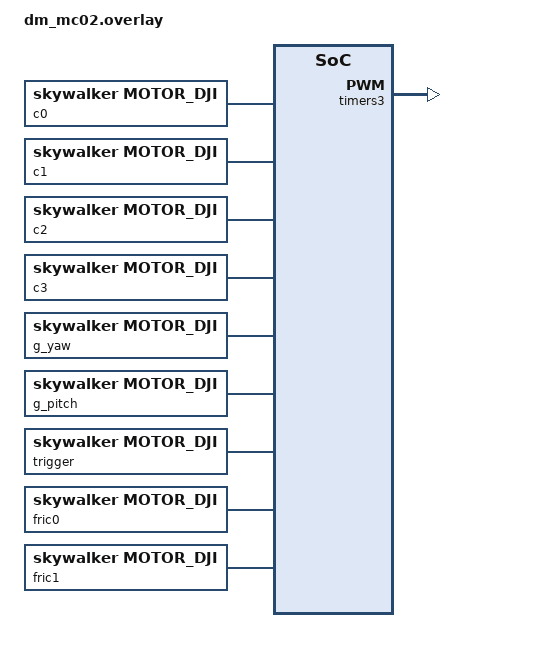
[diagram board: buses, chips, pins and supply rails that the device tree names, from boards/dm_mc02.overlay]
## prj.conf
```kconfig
# ── skywalker 最终固件 ──
#
# ⚠️ 这里的开关是「这辆车用到了哪些【子系统】」，不是「用了哪个【型号】」。
#    所以电机两个驱动都开：没有对应 DT 节点的那个不会实例化任何设备。
#    型号完全由 application/boards/dm_mc02.overlay 决定 ——
#    和上层代码里不出现型号名是同一条规则。
#
# ⚠️ 但「不开设备」不等于「零代价」：本 overlay 全是 motor_dji，所以
#    motor_dm 那边 DT_INST_FOREACH_STATUS_OKAY 展开为空，会留下
#    -Wunused-function / -Wunused-const-variable 告警（api / init / 三个命令帧）。
#    这是【预期】的，不是坏了 —— 见 dt-macros-need-a-node-to-expand 那条笔记。
#    哪天换成达妙电机，告警会整体挪到 motor_dji 那边去。
#
# ⚠️ 干净构建时还会看到两条 CMake Warning「No SOURCES given to Zephyr library」：
#      ..__skywalker_code__lib__matrix —— matrix.c 只在 _MATRIX_STORAGE 下编译
#         （那是矩阵存 flash 的功能，本车不用）。CONFIG_SKYWALKER_LIB_MATRIX 的
#         真正作用是 select CMSIS_DSP / CMSIS_DSP_MATRIX —— EKF 要的
#         arm_matrix_instance_f32 和 Matrix_Init 都在 CMSIS-DSP 里，所以这个开关
#         【必须留】。库目标为空是设计如此。
#      drivers__counter —— Zephyr 自己的，被某个依赖勾上但本板没有 counter 驱动。
#    两条都无害，不用管。

# ── skywalker 自己的驱动 / 库 ──
CONFIG_SKYWALKER_DRIVER_MOTOR=y
CONFIG_SKYWALKER_DRIVER_MOTOR_DJI=y
CONFIG_SKYWALKER_DRIVER_MOTOR_DM=y
CONFIG_SKYWALKER_DRIVER_PID=y
CONFIG_SKYWALKER_DRIVER_IMU=y
CONFIG_SKYWALKER_DRIVER_KALMAN_FILTER=y
CONFIG_SKYWALKER_DRIVER_CHASSIS=y
CONFIG_SKYWALKER_DRIVER_GIMBAL=y
CONFIG_SKYWALKER_LIB_DR16=y
CONFIG_SKYWALKER_LIB_MATRIX=y
CONFIG_SKYWALKER_LIB_VOFA=y

# ── 外设 ──
CONFIG_CAN=y
CONFIG_UART_ASYNC_API=y
CONFIG_EVENTS=y

# ── IMU（Bosch BMI08x，挂在 spi2 上，节点在板级 dts 里）──
# OWN_THREAD：传感器的 INT 引脚回调不能直接做解算，交给自己那条线程。
CONFIG_BMI08X_ACCEL_TRIGGER_OWN_THREAD=y
CONFIG_BMI08X_GYRO_TRIGGER_OWN_THREAD=y

# ── 浮点 ──
# FPU_SHARING 必须开：中断里也可能碰到浮点（CAN 反馈换算），不开的话
# FPU 寄存器不会被保存/恢复，任务切换后浮点结果随机错。
CONFIG_FPU=y
CONFIG_FPU_SHARING=y

# DR16 的 DMA 接收缓冲要求落在 nocache 段，见 lib/dr16/dr16.c
CONFIG_NOCACHE_MEMORY=y
```

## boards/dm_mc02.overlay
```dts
/*
 * application —— 【最终固件】的设备树。
 *
 * 这个文件是整辆车"是什么样"的唯一定义处：
 *   装了几个电机、挂在哪个 CAN 口、几号 ID、底盘几何、云台行程、PID 增益。
 * 上层代码（src/main.c）里【一个型号名都不出现】—— 它只认 motor_set / motor_get
 * 和 chassis/gimbal 两个设备。所以换电机型号 = 改这里的 compatible / type，
 * 一行 C 都不用动。
 *
 * ⚠️⚠️ 下面所有数值【都是占位的】⚠️⚠️
 *   电机 ID、底盘几何、云台行程、PID 增益全部是编的，没有任何装车意义。
 *   上真车前必须逐项替换成实车量出来的值。唯一例外是结构（哪个属性填什么
 *   形状），那部分是对的，可以照抄。
 *
 * 板级 dts（boards/damiao/dm_mc02/dm_mc02.dts）里已经有的，这里【不用重复写】：
 *   can1 / can2 / can3、uart5（DR16 用）、spi2 上的 bmi08x_accel/bmi08x_gyro。
 *   本文件只加 skywalker 自己的节点和 pwm_heat 的定时器。
 */

/ {
	/* ═══ IMU ═══
	 * 五个 phandle 各管一件事：accel/gyro 是数据源，heat 是加热片，
	 * filter 是卡尔曼，pid 是温控。缺一个 imu_init 会失败。 */
	imu: imu {
		compatible = "skywalker,imu";
		accel-dev  = <&bmi08x_accel>;
		gyro-dev   = <&bmi08x_gyro>;
		heat-dev   = <&pwm_heat>;
		filter-dev = <&ekf_filter>;
		pid-dev    = <&temp_pid>;
		estimator  = "ekf";
	};

	ekf_filter: ekf_filter {
		compatible = "skywalker,kalman_filter";
		state-dim   = <4>;
		measure-dim = <3>;
	};

	/* ═══ PID ═══
	 * ⚠️ 全部是占位增益，一个都没整定过。台架上一项一项调。
	 * out-max 的量纲取决于下发帧怎么填，见 samples/motor_dji_test 里的挂账。 */
	temp_pid:  temp_pid  { compatible = "skywalker,pid"; k-p="1"; k-i="0"; k-d="0"; i-max="0"; out-max="1"; deadband="0"; };
	wheel_pid: wheel_pid { compatible = "skywalker,pid"; k-p="8"; k-i="0"; k-d="0"; i-max="2"; out-max="2"; deadband="0"; };
	steer_pid: steer_pid { compatible = "skywalker,pid"; k-p="8"; k-i="0"; k-d="0"; i-max="2"; out-max="2"; deadband="0"; };
	tspd_pid:  tspd_pid  { compatible = "skywalker,pid"; k-p="8"; k-i="0"; k-d="0"; i-max="2"; out-max="2"; deadband="0"; };
	tang_pid:  tang_pid  { compatible = "skywalker,pid"; k-p="8"; k-i="0"; k-d="0"; i-max="2"; out-max="2"; deadband="0"; };
	yaw_a_pid: yaw_a_pid { compatible = "skywalker,pid"; k-p="8"; k-i="0"; k-d="0"; i-max="2"; out-max="2"; deadband="0"; };
	yaw_s_pid: yaw_s_pid { compatible = "skywalker,pid"; k-p="8"; k-i="0"; k-d="0"; i-max="2"; out-max="2"; deadband="0"; };
	pt_a_pid:  pt_a_pid  { compatible = "skywalker,pid"; k-p="8"; k-i="0"; k-d="0"; i-max="2"; out-max="2"; deadband="0"; };
	pt_s_pid:  pt_s_pid  { compatible = "skywalker,pid"; k-p="8"; k-i="0"; k-d="0"; i-max="2"; out-max="2"; deadband="0"; };
	fric_pid:  fric_pid  { compatible = "skywalker,pid"; k-p="8"; k-i="0"; k-d="0"; i-max="2"; out-max="2"; deadband="0"; };

	/* ═══ 底盘轮速电机（can1，ID 1~4 共用一个发送帧 0x200）═══
	 * ⚠️ 换成达妙电机只要改 `compatible` 和 `type`，属性名一样。
	 *    motor_dji 和 motor_dm 共用同一个 binding 基类（can-dev/id/tx-id/rx-id）。 */
	c0: c0 { compatible = "skywalker,motor_dji"; can-dev = <&can1>; id = <1>; tx-id = <0x200>; rx-id = <0x201>; type = "M3508"; gear-ratio = "19.2032"; status = "okay"; };
	c1: c1 { compatible = "skywalker,motor_dji"; can-dev = <&can1>; id = <2>; tx-id = <0x200>; rx-id = <0x202>; type = "M3508"; gear-ratio = "19.2032"; status = "okay"; };
	c2: c2 { compatible = "skywalker,motor_dji"; can-dev = <&can1>; id = <3>; tx-id = <0x200>; rx-id = <0x203>; type = "M3508"; gear-ratio = "19.2032"; status = "okay"; };
	c3: c3 { compatible = "skywalker,motor_dji"; can-dev = <&can1>; id = <4>; tx-id = <0x200>; rx-id = <0x204>; type = "M3508"; gear-ratio = "19.2032"; status = "okay"; };

	/* ═══ 云台 + 发射（can2）═══
	 * ⚠️ 云台 yaw/pitch 真车多半是 GM6020（tx-id 0x1ff 那一组），这里图省事
	 *    全写成 M3508。换的时候记得 id 和 tx-id 一起改 —— DJI 的对应关系是
	 *    id 1~4 ↔ 0x200、id 5~8 ↔ 0x1ff，填错电机不会转，而且不报错。 */
	g_yaw:   g_yaw   { compatible = "skywalker,motor_dji"; can-dev = <&can2>; id = <1>; tx-id = <0x200>; rx-id = <0x201>; type = "M3508"; gear-ratio = "19.2032"; status = "okay"; };
	g_pitch: g_pitch { compatible = "skywalker,motor_dji"; can-dev = <&can2>; id = <2>; tx-id = <0x200>; rx-id = <0x202>; type = "M3508"; gear-ratio = "19.2032"; status = "okay"; };
	trigger: trigger { compatible = "skywalker,motor_dji"; can-dev = <&can2>; id = <3>; tx-id = <0x200>; rx-id = <0x203>; type = "M3508"; gear-ratio = "19.2032"; status = "okay"; };

	/* 摩擦轮：计划是【两个】，所以两个节点。
	 * GIMBAL_FRICTION_MAX 是上限 4，实际几个由这里的个数决定 ——
	 * friction_num 是从属性长度算出来的，不用手写。 */
	fric0: fric0 { compatible = "skywalker,motor_dji"; can-dev = <&can2>; id = <4>; tx-id = <0x200>; rx-id = <0x204>; type = "M3508"; gear-ratio = "19.2032"; status = "okay"; };
	fric1: fric1 { compatible = "skywalker,motor_dji"; can-dev = <&can2>; id = <5>; tx-id = <0x1ff>; rx-id = <0x205>; type = "M3508"; gear-ratio = "19.2032"; status = "okay"; };

	/* ═══ 底盘 ═══
	 * 下标约定【0 = 左前，逆时针】，四个数组必须按同一下标对齐，否则
	 * CHASSIS_DT_ASSERTS 会在编译期拦下。
	 *
	 * ⚠️ wheel-x / wheel-y 是【轮子在车体系里的位置】，不是轮距轮轴：
	 *      下标 0 左前 → x = +半轴距, y = +半轮距
	 *      下标 1 右前 → x = +半轴距, y = -半轮距
	 *      下标 2 右后 → x = -半轴距, y = -半轮距
	 *      下标 3 左后 → x = -半轴距, y = +半轮距
	 *    量错一点，小陀螺就会让车走圈而不是原地转。
	 *    （#define 里的 CHASSIS_X_ALPHA_DEG 假定的是 X 型布局，见 chassis.c。） */
	skywalker_chassis: chassis {
		compatible = "skywalker,chassis";
		type = "mecanum";
		wheels       = <&c0 &c1 &c2 &c3>;
		wheel-x      = "0.2", "0.2", "-0.2", "-0.2";
		wheel-y      = "0.2", "-0.2", "-0.2", "0.2";
		wheel-radius = "0.06";
		wheel-pid    = <&wheel_pid>;
		imu          = <&imu>;

		trigger-motor       = <&trigger>;
		trigger-speed-pid   = <&tspd_pid>;
		trigger-angle-pid   = <&tang_pid>;
		trigger-angle-deg   = "45";     /* 360 / 拨盘槽数 */
		trigger-speed-deg-s = "360";
	};

	/* ═══ 云台 ═══ */
	skywalker_gimbal: gimbal {
		compatible = "skywalker,gimbal";
		yaw-motor        = <&g_yaw>;
		pitch-motor      = <&g_pitch>;
		imu              = <&imu>;
		yaw-pid          = <&yaw_a_pid>;
		yaw-speed-pid    = <&yaw_s_pid>;
		pitch-pid        = <&pt_a_pid>;
		pitch-speed-pid  = <&pt_s_pid>;
		/* ⚠️ 必须 min < max，否则 gimbal_init 返回 -EINVAL。
		 *    这是机械行程，撞限位前必须夹住，量准。 */
		pitch-min-deg    = "-20";
		pitch-max-deg    = "30";

		friction-motors      = <&fric0 &fric1>;
		friction-pid         = <&fric_pid>;
		friction-speed-deg-s = "6000";
	};
};

/* IMU 加热片用的 PWM。prescaler=99 → 100 分频，接在 tim3 的 ch4 上。 */
&timers3 {
	status = "okay";
	st,prescaler = <99>;

	pwm_heat: pwm {
		status = "okay";
		pinctrl-names = "default";
		pinctrl-0 = <&tim3_ch4_pb1>;
	};
};
```

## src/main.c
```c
/*
 * skywalker 最终固件 —— 骨架
 *
 * 分工：
 *   驱动（motors / chassis / gimbal / imu / pid）负责"这一拍怎么算"。
 *   这里负责"这一拍该要什么"：读遥控器 → 状态机 → 把意图翻译成驱动认的目标量。
 *
 * ★ 本文件里【不出现任何电机型号】。M3508 / GM6020 / DM 一律不提 ——
 *   型号是设备树（boards/dm_mc02.overlay）的事。这里只认 motor_set / motor_get
 *   和 chassis / gimbal 两个设备。换电机不用改这里一个字。
 *
 * 线程结构照 samples/motor_dji_test：
 *   控制线程 —— 算，只 motor_set（写目标）
 *   发送线程 —— 打包 + can_send（真正上总线）
 * 两条线程用两个 1ms k_timer 驱动。分开的理由：can_send 是阻塞调用，
 * 超时/重传会拖时间，混在控制回路里会让 PID 的 dt 抖。
 */

#include <zephyr/kernel.h>
#include <zephyr/device.h>
#include <zephyr/drivers/can.h>
#include <zephyr/drivers/sensor.h>
#include <zephyr/logging/log.h>

#include <math.h>
#include <string.h>
#include <stdbool.h>

#include "drivers/chassis/chassis.h"
#include "drivers/gimbal/gimbal.h"
#include "drivers/imu/imu.h"
#include "drivers/motors/motor.h"
#include "lib/dr16/dr16.h"

LOG_MODULE_REGISTER(app, LOG_LEVEL_INF);

/* ═══════════════════ 设备 ═══════════════════ */

static const struct device *const chassis_dev = DEVICE_DT_GET(DT_NODELABEL(skywalker_chassis));
static const struct device *const gimbal_dev  = DEVICE_DT_GET(DT_NODELABEL(skywalker_gimbal));
static const struct device *const dr16_uart   = DEVICE_DT_GET(DT_NODELABEL(uart5));
static const struct device *const imu_dev     = DEVICE_DT_GET(DT_NODELABEL(imu));

/* ═══════════════════ 要整定的数 ═══════════════════
 * 全部集中在这里。这些是【手感参数】，不是"装车事实" ——
 * 所以留在 C 里，不进 DT：DT 是"这辆车装了什么"，这些是"打法"。
 * ⚠️ 一个都没整定过，全是起点值。 */
#define CTRL_PERIOD_MS       1
#define APP_MAX_LINEAR       3.0f     /* 平地最大平移速度（m/s） */
#define APP_MAX_ANGULAR      6.0f     /* 小陀螺最大自转角速度（rad/s） */
#define APP_POWER_LIMIT_W    80.0f    /* 底盘功率上限（W）。见 main() 里"裁判系统"一节 */

/* ── 鼠标增益 ──
 * ⚠️ 这两个数是按"量级"推出来的，不是整定出来的，上车第一个要调的就是它们。
 *
 * 鼠标的三轴是【每帧位移】不是速度（DBUS 一帧 ~14ms）。把它当速度用就是零阶
 * 保持：这一帧的命令一直保持到下一帧 —— 而这正是速度指令该有的样子，
 * 所以 yaw 直接乘增益就行，不用除以 dt。
 *
 * yaw：快速甩一下鼠标一帧大约 50~100 格，希望给到 ~3 rad/s → 增益 ≈ 0.03
 * pitch：一帧 100 格 → 0.04 rad ≈ 2.3°，甩到底十来个帧，够跟手也不飘 */
#define APP_MOUSE_YAW_GAIN   0.03f
#define APP_MOUSE_PITCH_GAIN 0.0004f

/* ── 换系用的两个修正量 ──
 * 云台 yaw 电机报出来的角是"相对它自己的零点、按它自己绕向"的数，要变成
 * "云台相对底盘转了多少"还差两件事：绕向和零点。两个都取决于装车方式，
 * 只能在实车上量，所以放这里当待定值。
 *
 * ⚠️ 怎么量：
 *   APP_YAW_SIGN —— 把云台【从上往下看逆时针】推一小段，看 motor_get 拿到的
 *                   md.angle 是涨还是跌。涨就填 +1，跌就填 -1。
 *   APP_YAW_ZERO_RAD —— 把云台转到【正对车头】，读一下当时 md.angle 是多少，
 *                       取它的负值填这里。这样"云台朝前"就对应 0。
 *
 * ⚠️ 对【相对式】零点（见 chassis_frame_yaw 里那段）：这个零点只在把云台
 *    摆正那一刻有效，电机会记住。上电时云台停在哪，参考就是哪。
 *    如果嫌麻烦，用【绝对式】的电机就能把零点固定进 DT —— 那时这两个常数
 *    里有一个可以退休。 */
#define APP_YAW_SIGN      (+1.0f)
#define APP_YAW_ZERO_RAD  (0.0f)

/* 遥控器失效判据。DBUS 一帧 ~14ms，给 100ms 已经是"连丢七帧"。
 * 超过它就当接收机掉线，原地不动 —— 而不是保持最后一帧的摇杆量继续冲。 */
#define APP_RC_TIMEOUT_MS    100

/* ── IMU ── */
#define IMU_TARGET_TEMP      50.0f   /* 加热片目标温度（°C） */
#define IMU_HEAT_PERIOD_MS   100

/* IMU 失效判据（单位：控制拍的个数，不是毫秒）。
 * 陀螺 DRDY 1kHz、控制回路 1kHz，正常情况每拍都该见到新心跳。
 * 给 20 拍 = 20ms 的容差，超了就认为姿态解算是死的。
 *
 * ★ 这个判据存在的理由很具体：云台环的【唯一】反馈源就是 IMU。IMU 一死，
 *   实测角恒为 0，而目标角还在跟着鼠标走 —— 误差越拉越大，云台会一路顶到
 *   机械限位。所以 IMU 不新鲜时必须【禁止云台使能】，不能让它带着瞎了的
 *   反馈继续跑。底盘不受影响：chassis_config.imu 目前是个死字段，底盘不读姿态。 */
#define APP_IMU_STALE_LIMIT  20

/* ── DR16 的量纲 ──
 * 摇杆原始值是 0~2047，dr16.c 已经把中位 1024 减掉了，所以这里是
 * −1024~1023，回中就是 0。上层不用再补偏置。 */
#define DR16_CH_MAX    1024.0f
#define DR16_DEADBAND  20       /* 回中抖动。不减掉的话车会在零点附近慢慢爬 */

/* DBUS 拨杆位置。1=上 2=中 3=下，0 是"没收到有效帧"。 */
#define SW_UP    1
#define SW_MID   2
#define SW_DOWN  3

/* DBUS 按键位。顺序和 dr16.h 里 key 字段的注释一致。 */
enum {
	KEY_W = 0, KEY_S, KEY_A, KEY_D, KEY_SHIFT, KEY_CTRL, KEY_Q, KEY_E,
	KEY_R, KEY_F, KEY_G, KEY_Z, KEY_X, KEY_C, KEY_V, KEY_B,
};

/* ═══════════════════ 线程间同步 ═══════════════════
 * 定义必须放在用到它们的线程函数【之前】：K_SEM_DEFINE 是一个变量定义，
 * C 里没有"先使用后定义"这回事 —— 线程函数体里引用 ctrl_sem 的那一刻
 * 它必须已经声明过了。 */
K_SEM_DEFINE(ctrl_sem, 0, 1);
K_SEM_DEFINE(send_sem, 0, 1);

/* ═══════════════════ 姿态解算（IMU 线程）═══════════════════
 *
 * ★ 为什么必须有这条线程：imu.h 那几个函数（fetch / predict / correct /
 *   update_angle / heat_control）【都要有人按节拍调】。驱动本身不主动跑 ——
 *   它只是把 BMI08x 的 DRDY 中断转成事件，然后等着。
 *   没人调 = imu_data.angle 永远是零初始化的 0 = 云台拿一个恒为 0 的反馈
 *   去算误差 = 编译链接全过、上电就废。这类"少调一个函数"的坑没有编译期信号，
 *   只能在写的时候就想清楚"谁负责按节拍调它"。
 *
 * ★ 为什么不塞进控制线程：DRDY 是 1kHz（陀螺）/ 800Hz（加计），和控制回路的
 *   1kHz 不同源；而且一次 correct 里有几百字节的 VLA + 三次 atan2，
 *   混进控制线程会把它的 WCET 顶上去，控制回路的 jitter 直接变成 dt 误差。
 *   分开之后控制线程只管"读一份现成的快照"，两个节拍互不干扰。
 *
 * 依赖 CONFIG_EVENTS（prj.conf 里已开）。用事件不用信号量：两个中断源各占一个
 * 位，k_sem 只有"有/没有"，不携带身份，分不清是加速度计还是陀螺仪来了。 */

#define IMU_EV_ACCEL  BIT(0)
#define IMU_EV_GYRO   BIT(1)

K_EVENT_DEFINE(imu_event);

/* dt 走 480MHz 的 64 位周期计数器（分辨率 ≈ 2ns），【不用】k_uptime_get() ——
 * 毫秒尺量 1ms 周期会得到 0，F 矩阵退化成单位阵，整轮预测被静默跳过。 */
#define CYCLE_TO_SEC  (1.0f / (float)CONFIG_SYS_CLOCK_HW_CYCLES_PER_SEC)

/* 先乘后除：避免 CONFIG_SYS_CLOCK_HW_CYCLES_PER_SEC 不能被 1000 整除时截断 */
#define IMU_HEAT_PERIOD_CYCLES \
	((uint64_t)CONFIG_SYS_CLOCK_HW_CYCLES_PER_SEC * IMU_HEAT_PERIOD_MS / 1000U)

/** 心跳。IMU 线程每轮 +1，控制线程查它有没有在动 —— 见 APP_IMU_STALE_LIMIT。
 *  ★ 用 32 位计数而不是"最后时刻"：ARM 上一次 int64_t 读是两条指令，
 *    会被高优先级线程撕成半新半旧，判据跟着误动作。32 位对齐访问是单条。 */
static volatile uint32_t imu_heartbeat;

/* ⚠️ 必须是 static：驱动存的是【指针】不是拷贝，局部变量一出函数就悬空，
 *    而这段代码编译不给任何警告。 */
static struct sensor_trigger accel_trig = {
	.type = SENSOR_TRIG_DATA_READY,
	.chan = SENSOR_CHAN_ACCEL_XYZ,
};

static struct sensor_trigger gyro_trig = {
	.type = SENSOR_TRIG_DATA_READY,
	.chan = SENSOR_CHAN_GYRO_XYZ,
};

/** DRDY 回调。跑在 BMI08x 驱动的 OWN_THREAD 线程里，【只报信不干活】——
 *  一次 correct 要几百字节栈，塞不进驱动那 1536B。
 *  ⚠️ 这里绝不能 wait：post 和 wait 必须分属两个执行流，自己等自己就是死锁。 */
static void imu_drdy_handler(const struct device *dev, const struct sensor_trigger *trig) {
	ARG_UNUSED(dev);

	if (trig->chan == SENSOR_CHAN_ACCEL_XYZ) {
		k_event_post(&imu_event, IMU_EV_ACCEL);
	} else if (trig->chan == SENSOR_CHAN_GYRO_XYZ) {
		k_event_post(&imu_event, IMU_EV_GYRO);
	}
}

static void imu_thread_entry(void *a, void *b, void *c) {
	/* 锚点必须在循环【外】初始化。放进循环里 = 每轮从此刻起算：
	 * 加热条件永不成立、dt 恒为 0。 */
	uint64_t last_est_cycle  = k_cycle_get_64();
	uint64_t last_heat_cycle = k_cycle_get_64();

	while (1) {
		/* reset=false：只清命中的位，没命中的留着，所以"还没处理完又来中断"
		 * 也不会丢事件。传 true 会先清零再判断，那个窗口里的事件就没了。 */
		uint32_t ev = k_event_wait(&imu_event, IMU_EV_ACCEL | IMU_EV_GYRO,
		                           false, K_FOREVER);

		uint64_t now_cycle = k_cycle_get_64();

		/* 陀螺 1kHz：dt 只属于 predict —— correct 的增益里没有 dt。
		 * 所以 last_est_cycle 只在这个分支推进：万一丢了一次 DRDY，
		 * 下一拍的实测 dt 会变成 2ms，F 按 2ms 积分，状态仍然是对的。
		 * （要是把 dt 写死 1ms，那一次旋转就静默丢了。） */
		if (ev & IMU_EV_GYRO) {
			imu_fetch_gyro(imu_dev);
			float dt = (float)(now_cycle - last_est_cycle) * CYCLE_TO_SEC;

			last_est_cycle = now_cycle;
			imu_predict(imu_dev, dt);
		}

		/* 加计 800Hz。两个 if 【不是】 else if：一次唤醒可能同时带两个位。 */
		if (ev & IMU_EV_ACCEL) {
			imu_fetch_accel(imu_dev);
			imu_correct(imu_dev);
		}

		/* 一轮只调一次：get_angle 是有状态的（内部维护 Yaw 跨圈计数），
		 * 一拍调两次会把跨圈计数推快一倍。 */
		imu_update_angle(imu_dev);

		/* 加热 100ms 一次，节拍独立于解算 */
		if ((now_cycle - last_heat_cycle) >= IMU_HEAT_PERIOD_CYCLES) {
			imu_heat_control(imu_dev, IMU_TARGET_TEMP,
			                 (float)(now_cycle - last_heat_cycle) * CYCLE_TO_SEC);
			last_heat_cycle = now_cycle;
		}

		/* 放在最后：说明"这一轮真的算完了"，而不是"刚醒来"。
		 * 控制线程据此判断姿态是不是新鲜的。 */
		imu_heartbeat++;
	}
}

/* ═══════════════════ 跨拍要保持的状态 ═══════════════════
 * 放在文件作用域而不是函数内 static，是因为它们要跨两个函数用：
 * 使能瞬间对齐 pitch 的那一句在 remote_to_command 的【开头】，
 * 而累加 pitch 的那一句在【结尾】—— 函数内 static 在开头那一刻还没声明。 */

/** pitch 目标绝对角（rad）。上电 0，使能瞬间对齐到实际角度。 */
static float pitch_target_rad;
/** yaw 目标绝对角 —— 只在切到 AUTO（自瞄）时用得上，现在恒 MANUAL，先留着 */
static float yaw_target_rad;
/** 上一拍【云台】的使能状态，用来抓"使能沿"。
 *  抓的是云台不是底盘：底盘和云台的使能条件从加了 IMU 判据那一刻起就不一样了
 *  （云台多一道），而对齐 pitch 目标这件事只对云台有意义。 */
static bool  was_gimbal_enabled;
/** 上一拍的拨盘 / 云台模式，用来抓"变化沿"。见 remote_to_command 里的说明。 */
static trigger_mode_t last_trigger_mode = (trigger_mode_t)-1;
static gimbal_mode_t  last_gimbal_mode  = (gimbal_mode_t)-1;

/* ═══════════════════ 电机清单（全部来自 DT）═══════════════════
 *
 * ★ 这张表是【问 chassis / gimbal 要】出来的，不是在这里列 m0..m7 ——
 *   列了就等于把型号和拓扑写死在 application 里，换个车就要改代码。
 *   驱动本来就把"这辆车装了哪些电机"记在它自己的 config 里，直接拿。
 */
#define APP_MOTOR_MAX 16

static const struct device *motor_list[APP_MOTOR_MAX];
static uint8_t motor_count;

static void motor_list_add(const struct device *dev) {
	/* NULL = 这辆车没配这一项（没拨盘 / 没摩擦轮 / 不是舵轮），跳过 */
	if (dev == NULL) {
		return;
	}
	if (motor_count >= APP_MOTOR_MAX) {
		LOG_ERR("motor_list 溢出，APP_MOTOR_MAX 要调大");
		return;
	}
	motor_list[motor_count++] = dev;
}

static void motor_list_build(void) {
	const chassis_config *cc = chassis_dev->config;
	const gimbal_config  *gc = gimbal_dev->config;

	for (int i = 0; i < 4; i++) {
		motor_list_add(cc->wheels[i]);
	}
	/* 舵轮的转向电机在 omni / mecanum 上是全 NULL，add 会自己跳过。
	 * 不按 type 判也行，但按 type 判读起来更明白"这是舵轮才有的东西"。 */
	if (cc->type == steer) {
		for (int i = 0; i < 4; i++) {
			motor_list_add(cc->steer_motors[i]);
		}
	}
	motor_list_add(cc->trigger_motor);

	/* 摩擦轮是变长的，个数在 config 里（friction_num），不是 GIMBAL_FRICTION_MAX */
	for (int i = 0; i < gc->friction_num; i++) {
		motor_list_add(gc->friction_motors[i]);
	}
	motor_list_add(gc->yaw_motor);
	motor_list_add(gc->pitch_motor);

	LOG_INF("从 DT 收集到 %u 台电机", motor_count);
}

/* ═══════════════════ 小工具 ═══════════════════ */

static float clampf(float v, float lo, float hi) {
	return (v < lo) ? lo : ((v > hi) ? hi : v);
}

/** 摇杆值 → 归一化，顺手过死区。返回 −1.0 ~ +1.0 */
static float stick_norm(int16_t raw) {
	if (raw > -DR16_DEADBAND && raw < DR16_DEADBAND) {
		return 0.0f;
	}
	return clampf((float)raw / DR16_CH_MAX, -1.0f, 1.0f);
}

/* ═══════════════════ 换系 ═══════════════════ */

/**
 * @brief 车头相对"操作手前方"偏了多少（rad）
 *
 * 遥控器摇杆给的是【机体系】—— 以操作手为参照的前后左右。底盘要的是
 * 【车体系】—— 以车头为正。两者差一个绕 z 的旋转，就是本函数返回的角。
 *
 * 来源 = 【云台 yaw 电机的编码器】。这一条是定下来的（2026-10-07）：操作手
 * 用云台瞄准，所以"云台朝向"就是"操作手的前方"，云台相对底盘转了多少，
 * 就是两个系差了多少。
 *
 * ★★ 这个接口【对电机型号免疫】，这正是它该长成这样子的原因：
 *    只走 motor_get 拿通用的 motor_data.angle，一个字都不提型号。
 *    底下可能是 3508、GM6020、还是达妙 —— 各家的 angle 语义差得很远
 *    （光 motor_dji 内部就有两套：直驱 GM6020 是绝对编码器、卷绕到 (−π,π]；
 *      其余是增量累加、连续无界），但本函数【只用 cos/sin】，
 *    而卷绕和圈数在 cos/sin 下是等价的 —— 差 2πk 的角，余弦正弦一模一样。
 *    所以不管底下是哪一种，这里都不用改。
 *
 * ⚠️⚠️ 但有一件事【必须】在实车上定，定了才有意义：
 *      两个修正量 APP_YAW_SIGN / APP_YAW_ZERO_RAD（见上面那段的量法）。
 *      现在都是占位值，也就是说换系这一步【还没真正生效】——
 *      拿不到修正量时它的实际效果等同于恒返回 0，即"车头正对操作手"：
 *      底盘不转时能用，一推小陀螺车就往斜里走。
 *
 * ⚠️ 另一个待定的点是【零点语义】，取决于电机是绝对式还是相对式：
 *      绝对式（如直驱 GM6020）—— 每圈内唯一，零点由电机自己的
 *        angle-offset-deg 定死，上电在哪都不影响，最省事。
 *      相对式（增量累加）—— angle 从上电那一刻开始累加，也就是说
 *        【上电时云台停在哪，那一处就是零点】。这样 APP_YAW_ZERO_RAD
 *        只在"上电时云台恰好摆正"的前提下才对，换个上电姿势就偏了。
 *      这一条不改本函数，但要记在账上 —— 等电机定下来再看要不要处理
 *      （绝对式的话直接退休一个常数，相对式的话得加个"上电归零"的流程）。
 */
static float chassis_frame_yaw(void) {
	const gimbal_config *gc = gimbal_dev->config;
	motor_data md;

	/* 拿不到就当 0：退化成"车头正对操作手"，是个能开的状态，
	 * 不是"不动"也不是"乱转"。yaw_motor 为 NULL 在 DT 里就编不出来，
	 * 这里查它是为了 motor_get 之前不留空指针。 */
	if (gc->yaw_motor == NULL || motor_get(gc->yaw_motor, &md) != 0) {
		return 0.0f;
	}

	return APP_YAW_SIGN * md.angle + APP_YAW_ZERO_RAD;
}

/* ═══════════════════ 遥控器 → 目标量 ═══════════════════ */

/**
 * @brief 把遥控器状态翻译成四个驱动的目标量
 *
 * @param rc       遥控器快照
 * @param link_ok  false = 遥控器掉线，按"什么都不做"处理
 * @param fresh    true = 这一拍 rc 是【新的一帧】（rc.frame_count 变了）
 *
 * ⚠️ fresh 不是优化，是正确性：下面 pitch 那一步是【跨帧累加】的，
 *    而本函数每毫秒被调一次、DBUS 十几毫秒才来一帧 —— 不看 fresh 的话
 *    同一帧的鼠标 Δ 会被累加十几遍，云台走得比手快十几倍。
 *    其余的量都是"电平"，重复写无害，所以只有 pitch 那一步需要判 fresh。
 *
 * 本函数必须【幂等】：同样的 rc + fresh 调两次，结果一样。
 * 下面几处"只在变化时调"就是为了这个 —— 见各自的注释。
 */
static void remote_to_command(const DR16_Data *rc, bool link_ok, bool imu_ok, bool fresh) {
	/* ── ① 总闸：右拨杆（+ 两条失效保护）──
	 * 只有这一处决定 enabled。
	 *
	 * 底盘和云台【共用同一个总闸】——只停一个的话，急停之后云台还会带着枪口
	 * 转，那比两个都停危险。但云台【多一道】IMU 判据，见下面。
	 *
	 * 上电默认是失能（chassis_data / gimbal_data 都是零初始化），
	 * 也就是"不拨杆车不动"，这是故意的。 */
	const bool chassis_enable = link_ok && (rc->switch_R == SW_UP);

	/* ★ 云台多一道 IMU 新鲜度。理由：云台环的【唯一】反馈源是 IMU，
	 *   而目标是跟着鼠标走的 —— IMU 一死，实测角恒为 0、目标角还在动，
	 *   误差越拉越大，云台会一路顶到机械限位。底盘不读姿态，所以不受影响。 */
	const bool gimbal_enable = chassis_enable && imu_ok;

	if (gimbal_enable && !was_gimbal_enabled) {
		/* 使能瞬间把 pitch 目标【对齐到当前实际角度】。
		 * 不对齐的话：失能期间 pitch_target_rad 停在旧值，重新使能的那一拍
		 * 云台会从当前位置猛甩到旧目标 —— 那是一发实实在在的机械冲击。
		 * 对齐之后"从哪停的就从哪接着走"，代价只是重开后 pitch 换个参考。 */
		gimbal_status gs;

		if (gimbal_get_status(gimbal_dev, &gs) == 0) {
			pitch_target_rad = gs.pitch_angle;
		}
		yaw_target_rad = 0.0f;   /* AUTO 还没做，先归零占位 */
	}
	was_gimbal_enabled = gimbal_enable;

	chassis_set_enabled(chassis_dev, chassis_enable);
	gimbal_set_enabled(gimbal_dev, gimbal_enable);

	if (!chassis_enable) {
		/* 急停 / 掉线时后面的指令一概不写：驱动自己会把输出清零、积分器清掉。
		 * 这时候还把摇杆值写进去，只是给下次使能埋个惊喜。 */
		return;
	}

	/* IMU 挂了但遥控器正常：底盘照常能开，云台的指令【照写不误】。
	 * 不特殊处理是对的 —— 云台此刻是失能的，驱动里的失能分支会把输出清零、
	 * 并作废角度基准，写进去的摇杆值一个都落不了地。等 IMU 回来时走的是
	 * 上面那条使能沿，pitch 目标会被重新对齐到当时的实际角。 */

	/* ── ② 平移 + 自转（机体系）──
	 * ⚠️ 下面三条方向是按"标准 DBUS"写的，但 dr16.c 只对 Right_X 做了取反，
	 *    其余三轴原样透传（见那里"其余三轴的方向按上层需求再定"）。
	 *    所以【第一版上车必须低速试方向】，反了就翻这里的符号，别的都不用动。 */
	float vx = stick_norm(rc->Left_Y) * APP_MAX_LINEAR;   /* 左摇杆竖直，上推为正 → 向前 */
	float vy = -stick_norm(rc->Left_X) * APP_MAX_LINEAR;  /* 左摇杆水平，右推为正 → 车体系 y 是【车左为正】，故取负 */
	float wz = stick_norm(rc->Right_X) * APP_MAX_ANGULAR;

	/* ── ③ 机体系 → 车体系 ──
	 * 把操作手要的速度，从他的系（云台朝向）表示，换算到车体系表示。
	 *
	 * 设 x̂_o = 云台朝前、ŷ_o = 云台朝左，α 是从 x̂_c 转到 x̂_o 的角。则
	 *     x̂_o = cosα·x̂_c + sinα·ŷ_c
	 *     ŷ_o = −sinα·x̂_c + cosα·ŷ_c
	 * 操作手要的 v_o = vx·x̂_o + vy·ŷ_o 展开到车体系就是下面这两行，
	 * 也就是【把向量转 +α】—— 不是 −α，方向别搞反。
	 *
	 * 验算 α = 90°（云台指向车的左边）：操作手推前进，车该往车的左边走，
	 * 即 vx_c = 0、vy_c = 1 → 下面第一行 1·cos90 − 0 = 0 ✓
	 *                              第二行 1·sin90 + 0 = 1 ✓
	 *
	 * wz 两个系共用同一根 z 轴，原样透传，不参与旋转。
	 *
	 * ⚠️ α 的两个修正量还是占位值，见 chassis_frame_yaw。 */
	const float a = chassis_frame_yaw();
	const float ca = cosf(a), sa = sinf(a);

	chassis_set_speed(chassis_dev,
	                  vx * ca - vy * sa,
	                  vx * sa + vy * ca,
	                  wz);

	/* ── ④ 拨盘：左拨杆 ──
	 * 上 = 连发，中 = 单发，下 = 停火。
	 *
	 * ⚠️⚠️ 切模式【只在变化的那一拍调】。
	 *   chassis_driver_set_trigger_mode 里有一句 trigger_target_valid = false
	 *   —— 那是为了切到单发时把角度基准作废（不然会从上次的位置一步跳出去）。
	 *   每拍都调它，等于每拍都作废基准，单发就【永远打不出一发】：
	 *   基准每拍重建、目标每拍不设，最后表现为"按了没反应"。
	 *   这个坑编译器拦不住，症状也不像"调用太频繁"，所以在这里记一笔。 */
	trigger_mode_t want;
	bool fire = false;

	switch (rc->switch_L) {
	case SW_UP:
		want = TRIGGER_MODE_AUTO;
		fire = (rc->mouse_press_l != 0);
		break;
	case SW_MID:
		want = TRIGGER_MODE_SINGLE;
		fire = (rc->mouse_press_l != 0);
		break;
	default:
		want = TRIGGER_MODE_SINGLE;
		fire = false;
		break;
	}

	if (want != last_trigger_mode) {
		chassis_set_trigger_mode(chassis_dev, want);
		last_trigger_mode = want;
	}
	chassis_trigger_set(chassis_dev, fire);

	/* ── ⑤ 云台 ──
	 * 恒 MANUAL：自瞄要上位机把绝对角度喂进来，那条链路还没做
	 * （gimbal_set_yaw_angle 就是给它准备的）。
	 *
	 * ⚠️ 和拨盘同一个坑：gimbal_driver_set_mode 切到 AUTO 时也会作废角度基准，
	 *    所以也只在变化时调。现在恒 MANUAL 其实调一次就够，但保留
	 *    "只在变化时调"的形状，等接上位机时直接改 want 就行。 */
	if (last_gimbal_mode != GIMBAL_MODE_MANUAL) {
		gimbal_set_mode(gimbal_dev, GIMBAL_MODE_MANUAL);
		last_gimbal_mode = GIMBAL_MODE_MANUAL;
	}

	/* yaw：鼠标横向 → 角速度。mouse_x 正 = 向右，而世界系 yaw 是【逆时针为正】，
	 * 向右转 = yaw 减小，所以取负。⚠️ 同 ②，上车先试方向。 */
	gimbal_set_yaw_speed(gimbal_dev, -(float)rc->mouse_x * APP_MOUSE_YAW_GAIN);

	/* pitch：鼠标纵向 → 【绝对角】，所以这里累加。
	 * ★ 只在 fresh 的那一拍累加，理由见函数头注释。
	 * 驱动会把它夹到 DT 的 pitch 行程，所以这里放心积分不用自己夹；
	 * 而且"积在后面"手感更对：顶到限位后往回拉立刻就有响应。
	 * ⚠️ mouse_y 正 = 向下，pitch 正 = 向上，所以取负。方向同样先试再定。 */
	if (fresh) {
		pitch_target_rad -= (float)rc->mouse_y * APP_MOUSE_PITCH_GAIN;
	}
	gimbal_set_pitch_angle(gimbal_dev, pitch_target_rad);

	/* 摩擦轮：按住 R 转。
	 * ⚠️ 摩擦轮是【电平】不是边沿 —— 按住才转，松开停。这和拨盘的单发/连发
	 *    是两码事，见 gimbal.h 上那段。 */
	gimbal_set_friction(gimbal_dev, ((rc->key >> KEY_R) & 1u) != 0);
}

/* ═══════════════════ 控制线程 ═══════════════════ */

static void control_thread_entry(void *a, void *b, void *c) {
	DR16_Data rc = {0};
	uint32_t last_frame  = 0;
	uint32_t last_hb     = 0;
	uint32_t stale_ticks = APP_IMU_STALE_LIMIT;  /* 上电就当它还没活，
	                                              * 收到第一次心跳才放行 */
	int64_t last_rc_ms = k_uptime_get();
	int64_t last_loop_ms = k_uptime_get();

	while (1) {
		k_sem_take(&ctrl_sem, K_FOREVER);

		/* dt 实测，不用标称的 0.001 —— 每个驱动的 update 都拿它做积分，
		 * 标称值在调度抖动下会系统性偏，积出来的 I 项就是错的。
		 * 这也是为什么 dt 是 update 的参数而不是它自己取时间。 */
		const int64_t now_ms = k_uptime_get();
		const float dt = (float)(now_ms - last_loop_ms) / 1000.0f;

		last_loop_ms = now_ms;

		dr16_get_data(&rc);

		/* fresh：帧计数变了 = 这是新的一帧。见 remote_to_command 的头注释。 */
		const bool fresh = (rc.frame_count != last_frame);

		if (fresh) {
			last_frame = rc.frame_count;
			last_rc_ms = now_ms;
		}

		/* 失控保护。上电后、收到第一帧之前 last_rc_ms 是线程启动时刻，
		 * 所以这一条同时保证"遥控器没开 = 车不动"。 */
		const bool link_ok = (now_ms - last_rc_ms) <= APP_RC_TIMEOUT_MS;

		/* 姿态新鲜度：看心跳涨没涨。用"连续多少拍没涨"而不是比时间戳，
		 * 是为了绕开 64 位量被抢占撕裂的问题（见 imu_heartbeat 的说明）。
		 * 涨了就清零，不涨就往上计 —— 计到上限就停，不用考虑溢出。 */
		if (imu_heartbeat != last_hb) {
			last_hb     = imu_heartbeat;
			stale_ticks = 0;
		} else if (stale_ticks < APP_IMU_STALE_LIMIT) {
			stale_ticks++;
		}
		const bool imu_ok = (stale_ticks < APP_IMU_STALE_LIMIT);

		remote_to_command(&rc, link_ok, imu_ok, fresh);

		/* ★ 顺序即契约：
		 *   update 只算、把四轮力矩存进 wheel_torque[]；
		 *   power_limit 是最后一道闸，限幅 + 下发；
		 *   拨盘是另一条独立闭环，不进功率预算，谁先谁后都行。 */
		chassis_update(chassis_dev, dt);
		chassis_power_limit(chassis_dev);
		chassis_trigger_update(chassis_dev, dt);

		gimbal_update(gimbal_dev, dt);
	}
}

/* ═══════════════════ 发送线程 ═══════════════════ */

/**
 * @brief 按 (CAN 口, tx_id) 分组，每组一帧
 *
 * ★ 分组规则来自 DT 里写的事实，不是按型号硬编码的：
 *     同一个 tx_id 的电机共用一帧 —— DJI 一帧装 4 台，各写各的 2 字节；
 *     达妙是每台一个 tx_id，自然每帧一台。
 *   motor_can_pack 只写【自己那 2 个字节】，所以必须先 memset 再把同组的
 *   都 pack 进来：不清零的话别的电机的槽位是上一次发送留下的残值。
 *
 * ⚠️ 上限：一帧最多 4 台（DJI 的帧布局决定的）。同一 tx_id 上挂了 5 台的话
 *    第 5 台的 id 会越界，motor_can_pack 返回 -EINVAL。这里不额外查 ——
 *    那是 DT 配错了，应该在上电时从 log 里看出来，而不是每毫秒查一遍。
 */
static void can_bus_send(void) {
	/* 已经发过帧的 (can_dev, tx_id)，用来跳过后续同组的电机 */
	const struct device *sent_dev[APP_MOTOR_MAX];
	uint32_t sent_id[APP_MOTOR_MAX];
	int sent_n = 0;

	for (int i = 0; i < motor_count; i++) {
		const motor_config *mc = motor_list[i]->config;
		bool already = false;

		for (int d = 0; d < sent_n; d++) {
			if (sent_dev[d] == mc->can_dev && sent_id[d] == mc->tx_id) {
				already = true;
				break;
			}
		}
		if (already) {
			continue;
		}
		sent_dev[sent_n] = mc->can_dev;
		sent_id[sent_n]  = mc->tx_id;
		sent_n++;

		struct can_frame frame = {
			.id  = mc->tx_id,
			.dlc = 8,
		};

		memset(frame.data, 0, sizeof(frame.data));

		/* 把同组的都塞进来。pack 打的是【当下】的 target.torque，
		 * 所以每拍必须重做 —— 把组算好后缓存起来的话，帧内容就永远停在
		 * 开机那一刻了。 */
		for (int j = 0; j < motor_count; j++) {
			const motor_config *mj = motor_list[j]->config;

			if (mj->can_dev == mc->can_dev && mj->tx_id == mc->tx_id) {
				motor_can_pack(motor_list[j], frame.data);
			}
		}

		/* 阻塞调用，但这是在【线程】里不是 ISR 里。超时给 1ms：
		 * 发送线程这一拍最坏也就拖 1ms，下一拍 timer 已经给了信号。 */
		can_send(mc->can_dev, &frame, K_MSEC(1), NULL, NULL);
	}
}

static void send_thread_entry(void *a, void *b, void *c) {
	while (1) {
		k_sem_take(&send_sem, K_FOREVER);
		can_bus_send();
	}
}

/* ═══════════════════ 线程 / 定时器 ═══════════════════ */

/* 优先级：数字小 = 优先级高（抢占式，可抢占区间 0~14）。
 *
 *   姿态 1 > 发送 2 > 控制 3
 *
 * 姿态最高：它是【生产者】，云台环的唯一反馈源。它晚一拍，控制回路这一拍
 *   读到的就是旧角度，误差里凭空多一份延迟。而且它由 DRDY 事件驱动，
 *   平时阻塞在 k_event_wait 上，只有新数据到了才跑，占不了多少 CPU。
 * 发送次之：控制线程算完只是写个结构体（几纳秒），发送线程这一拍不发出去
 *   就得等下一毫秒，电机目标随之晚一毫秒生效。
 * 控制最低：它的 dt 是【实测】的，偶尔被上面两条挤一下会被 dt 自动补偿掉，
 *   不像前两者那样会把误差直接漏进控制律。
 *
 * ⚠️ 三条线程的数字都是【在这个应用里】排的，没有绝对正确的值，只有相对次序
 *   说得通。底下 BMI08x 驱动自带的那两条投递线程不在这条链上：它们是
 *   K_PRIO_COOP(10) = −6，【协作式】，天然高于所有可抢占线程，怎么排都动不了。
 *   Kconfig 里写的 10 只是喂给宏的【索引】，不是最终优先级。
 *
 * ⚠️ 栈 2176 而不是 2048：多出的 128 是硬件 lazy stacking 的 FP 异常帧。
 *    K_FP_REGS 是必须的 —— 漏标的话 MPU 保护区按 32 算而不是 128，
 *    溢出会越过保护区继续写而检测不到。这两个数都是 imu_test 里验证过的。 */
K_THREAD_DEFINE(imu_thread,     2176, imu_thread_entry,     NULL, NULL, NULL, 1, K_FP_REGS, 0);
K_THREAD_DEFINE(send_thread,    2048, send_thread_entry,    NULL, NULL, NULL, 2, 0, 0);
K_THREAD_DEFINE(control_thread, 2048, control_thread_entry, NULL, NULL, NULL, 3, 0, 0);

static void ctrl_timer_cb(struct k_timer *t) { k_sem_give(&ctrl_sem); }
static void send_timer_cb(struct k_timer *t) { k_sem_give(&send_sem); }

K_TIMER_DEFINE(ctrl_timer, ctrl_timer_cb, NULL);
K_TIMER_DEFINE(send_timer, send_timer_cb, NULL);

/* ═══════════════════ 启动 ═══════════════════ */

/** 把清单里出现的 CAN 口都 start 一遍。去重是因为一辆车可能只用一条总线，
 *  重复 start 是错的（第二次返回 -EALREADY，但没必要去踩）。*/
static void can_buses_start(void) {
	const struct device *started[APP_MOTOR_MAX];
	int started_n = 0;

	for (int i = 0; i < motor_count; i++) {
		const motor_config *mc = motor_list[i]->config;
		bool dup = false;

		for (int d = 0; d < started_n; d++) {
			if (started[d] == mc->can_dev) {
				dup = true;
				break;
			}
		}
		if (dup) {
			continue;
		}
		started[started_n++] = mc->can_dev;

		int ret = can_start(mc->can_dev);

		if (ret != 0 && ret != -EALREADY) {
			LOG_ERR("can_start 失败: %d", ret);
		}
	}
}

int main(void) {
	if (!device_is_ready(chassis_dev)) {
		LOG_ERR("chassis 设备没就绪");
		return -1;
	}
	if (!device_is_ready(gimbal_dev)) {
		LOG_ERR("gimbal 设备没就绪");
		return -1;
	}

	/* 电机清单必须在 start 定时器【之前】建好 —— 线程一跑起来就要用它 */
	motor_list_build();
	can_buses_start();

	/* 遥控器：这一句一返回，UART 中断随时可能来 */
	dr16_init(dr16_uart);

	/* ── 把 IMU 的 DRDY 中断挂上 ──
	 * ★ 这一步【不做的话，什么都没发生】：姿态线程会永远阻塞在 k_event_wait
	 *   上（没有中断来投事件），imu_data.angle 恒为 0，云台拿一个瞎了的反馈
	 *   去算误差。编译链接全过、上电就废，没有任何报警 —— 所以下面每个
	 *   返回值都必须查。
	 *
	 * ⚠️ 两路要走【两份独立的 Kconfig + 两个源文件】，-ENOSYS 彼此独立，
	 *    只查一路等于没查（见 INTERVIEW-QUESTIONS 4.4）。
	 *
	 * 用驱动 config 里的子设备指针，DT 路径只写一次（写在本 overlay 的
	 * imu 节点上），这里不用再抄一遍。 */
	const imu_config *imu_cfg = imu_dev->config;
	int ret;

	ret = sensor_trigger_set(imu_cfg->accel_dev, &accel_trig, imu_drdy_handler);
	if (ret < 0) {
		LOG_ERR("sensor_trigger_set(accel) 失败: %d —— 云台将没有反馈，禁止使能", ret);
	}

	ret = sensor_trigger_set(imu_cfg->gyro_dev, &gyro_trig, imu_drdy_handler);
	if (ret < 0) {
		LOG_ERR("sensor_trigger_set(gyro) 失败: %d —— 云台将没有反馈，禁止使能", ret);
	}

	/* 不在这里 return -1：底盘【不依赖姿态】（chassis_config.imu 是个死字段），
	 * IMU 挂了也还能推着走。真正的保护落在控制线程那条心跳判据上 ——
	 * 它会在姿态不新鲜时拒绝使能云台。这是 fail-closed 而不是"整个固件不启动"。 */

	/* ── 裁判系统 ──
	 * 还没有这个设备。在它到位之前功率上限写死一个常数，好让限幅逻辑
	 * 真的跑起来（设 0 的话 chassis_power_scale 会解释成"不限制"，
	 * 那样限幅这一段就永远不被执行，等于埋着一个没验证过的分支）。
	 * 接上裁判系统之后，把这一句换成 chassis_set_power_limit(chassis_dev,
	 * 裁判系统给的功率上限)，10Hz 调一次就行。 */
	chassis_set_power_limit(chassis_dev, APP_POWER_LIMIT_W);

	k_timer_start(&ctrl_timer, K_NO_WAIT, K_MSEC(CTRL_PERIOD_MS));
	k_timer_start(&send_timer, K_NO_WAIT, K_MSEC(CTRL_PERIOD_MS));

	LOG_INF("skywalker 启动完成");
	return 0;
}
```
